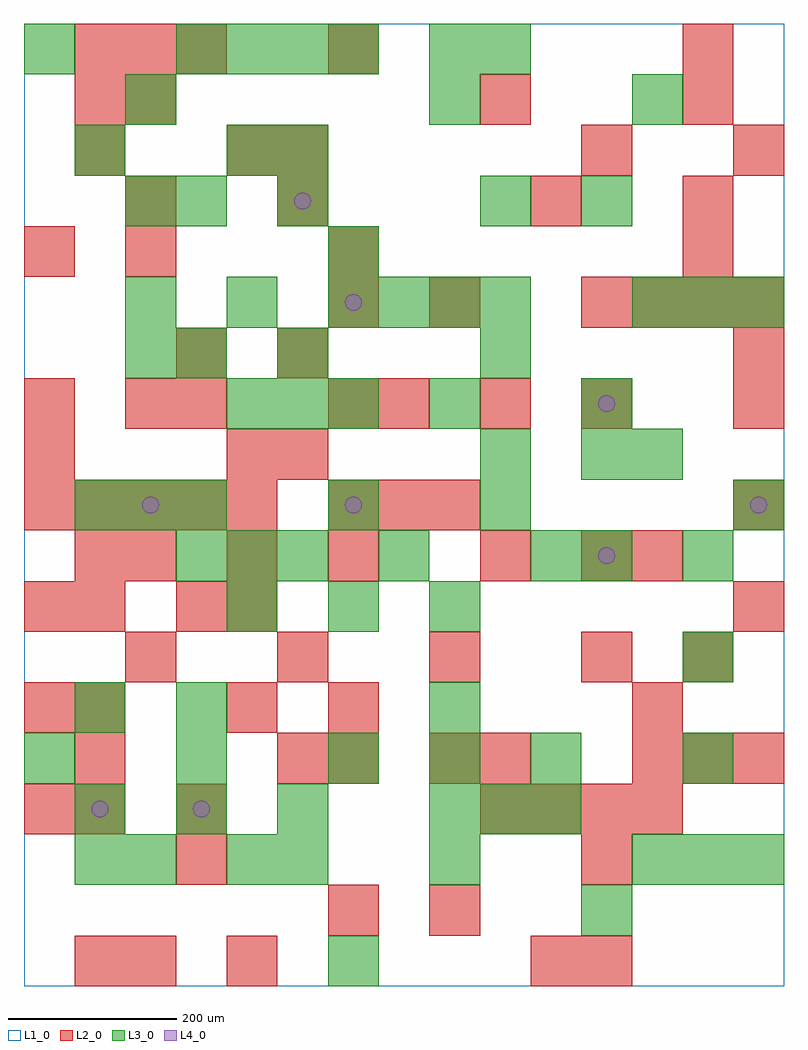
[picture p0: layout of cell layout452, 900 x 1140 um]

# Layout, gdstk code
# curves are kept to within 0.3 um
import gdstk
lib = gdstk.Library(unit=1e-6, precision=1e-09)
def R(c, l, rs):  # rectangles x0, y0, x1, y1
    for r in rs: c.add(gdstk.rectangle(r[:2], r[2:], *l))
def A(c, l, x, y, w, h, nx, ny, dx, dy):  # array of equal rectangles
    R(c, l, [(x+i*dx, y+j*dy, x+i*dx+w, y+j*dy+h) for i in range(nx) for j in range(ny)])
def P(c, l, *ps):  # polygons
    for p in ps: c.add(gdstk.Polygon(p, *l))
L1_0 = (1, 0)
L2_0 = (2, 0)
L3_0 = (3, 0)
L4_0 = (4, 0)

layout452 = lib.new_cell('layout452')
R(layout452, L1_0, [(0,0,900,1140)])
A(layout452, L2_0, 0, 180, 60, 60, 1, 3, 0, 120)
A(layout452, L2_0, 60, 180, 60, 60, 1, 3, 0, 60)
A(layout452, L2_0, 180, 180, 60, 60, 1, 3, 0, 240)
A(layout452, L2_0, 540, 180, 60, 60, 4, 1, 60, 0)
A(layout452, L2_0, 720, 240, 60, 60, 3, 1, 60, 0)
A(layout452, L2_0, 120, 360, 60, 60, 4, 1, 180, 0)
A(layout452, L2_0, 840, 420, 60, 60, 1, 3, 0, 120)
A(layout452, L2_0, 120, 480, 60, 60, 3, 1, 120, 0)
A(layout452, L2_0, 0, 540, 60, 60, 5, 1, 60, 0)
A(layout452, L2_0, 360, 540, 60, 60, 3, 1, 60, 0)
A(layout452, L2_0, 420, 660, 60, 60, 3, 1, 120, 0)
A(layout452, L2_0, 660, 780, 60, 60, 4, 1, 60, 0)
A(layout452, L2_0, 60, 1080, 60, 60, 3, 1, 60, 0)
R(layout452, L2_0, [(60,0,120,60), (120,0,180,60), (240,0,300,60), (600,0,660,60), (660,0,720,60), (360,60,420,120), (480,60,540,120), (180,120,240,180), (660,120,720,180), (300,240,360,300), (360,240,420,300), (480,240,540,300), (540,240,600,300), (240,300,300,360), (360,300,420,360), (720,300,780,360), (780,360,840,420), (60,420,120,480), (240,420,300,480), (60,480,120,540), (540,480,600,540), (660,480,720,540), (720,480,780,540), (0,600,60,660), (240,600,300,660), (300,600,360,660), (0,660,60,720), (120,660,180,720), (360,660,420,720), (180,720,240,780), (300,720,360,780), (840,720,900,780), (360,780,420,840), (480,780,540,840), (0,840,60,900), (120,840,180,900), (360,840,420,900), (780,840,840,900), (120,900,180,960), (300,900,360,960), (600,900,660,960), (780,900,840,960), (60,960,120,1020), (240,960,300,1020), (300,960,360,1020), (660,960,720,1020), (840,960,900,1020), (60,1020,120,1080), (120,1020,180,1080), (540,1020,600,1080), (780,1020,840,1080), (360,1080,420,1140), (780,1080,840,1140)])
A(layout452, L3_0, 720, 120, 60, 60, 3, 2, 60, 660)
A(layout452, L3_0, 60, 180, 60, 60, 3, 1, 120, 0)
A(layout452, L3_0, 480, 180, 60, 60, 3, 1, 60, 0)
A(layout452, L3_0, 0, 240, 60, 60, 3, 1, 180, 0)
A(layout452, L3_0, 780, 240, 60, 60, 1, 3, 0, 120)
A(layout452, L3_0, 480, 300, 60, 60, 1, 3, 0, 360)
A(layout452, L3_0, 240, 420, 60, 60, 3, 1, 120, 0)
A(layout452, L3_0, 180, 480, 60, 60, 3, 1, 60, 0)
A(layout452, L3_0, 60, 540, 60, 60, 3, 1, 60, 0)
A(layout452, L3_0, 240, 660, 60, 60, 3, 1, 60, 0)
A(layout452, L3_0, 540, 720, 60, 60, 1, 3, 0, 180)
A(layout452, L3_0, 120, 780, 60, 60, 3, 1, 120, 0)
A(layout452, L3_0, 420, 780, 60, 60, 3, 1, 60, 0)
A(layout452, L3_0, 180, 1080, 60, 60, 4, 1, 60, 0)
R(layout452, L3_0, [(360,0,420,60), (660,60,720,120), (60,120,120,180), (120,120,180,180), (240,120,300,180), (300,120,360,180), (480,120,540,180), (480,240,540,300), (600,240,660,300), (60,300,120,360), (180,300,240,360), (420,480,480,540), (600,480,660,540), (660,480,720,540), (360,540,420,600), (540,540,600,600), (840,540,900,600), (540,600,600,660), (660,600,720,660), (720,600,780,660), (660,660,720,720), (120,720,180,780), (180,720,240,780), (300,720,360,780), (360,840,420,900), (120,900,180,960), (180,900,240,960), (300,900,360,960), (660,900,720,960), (60,960,120,1020), (240,960,300,1020), (300,960,360,1020), (120,1020,180,1080), (720,1020,780,1080), (0,1080,60,1140), (480,1080,540,1140)])
P(layout452, L4_0, [(100,210),(99.239,213.827),(97.071,217.071),(93.827,219.239),(90,220),(86.173,219.239),(82.929,217.071),(80.761,213.827),(80,210),(80.761,206.173),(82.929,202.929),(86.173,200.761),(90,200),(93.827,200.761),(97.071,202.929),(99.239,206.173)],
  [(160,570),(159.239,573.827),(157.071,577.071),(153.827,579.239),(150,580),(146.173,579.239),(142.929,577.071),(140.761,573.827),(140,570),(140.761,566.173),(142.929,562.929),(146.173,560.761),(150,560),(153.827,560.761),(157.071,562.929),(159.239,566.173)],
  [(220,210),(219.239,213.827),(217.071,217.071),(213.827,219.239),(210,220),(206.173,219.239),(202.929,217.071),(200.761,213.827),(200,210),(200.761,206.173),(202.929,202.929),(206.173,200.761),(210,200),(213.827,200.761),(217.071,202.929),(219.239,206.173)],
  [(340,930),(339.239,933.827),(337.071,937.071),(333.827,939.239),(330,940),(326.173,939.239),(322.929,937.071),(320.761,933.827),(320,930),(320.761,926.173),(322.929,922.929),(326.173,920.761),(330,920),(333.827,920.761),(337.071,922.929),(339.239,926.173)],
  [(400,570),(399.239,573.827),(397.071,577.071),(393.827,579.239),(390,580),(386.173,579.239),(382.929,577.071),(380.761,573.827),(380,570),(380.761,566.173),(382.929,562.929),(386.173,560.761),(390,560),(393.827,560.761),(397.071,562.929),(399.239,566.173)],
  [(400,810),(399.239,813.827),(397.071,817.071),(393.827,819.239),(390,820),(386.173,819.239),(382.929,817.071),(380.761,813.827),(380,810),(380.761,806.173),(382.929,802.929),(386.173,800.761),(390,800),(393.827,800.761),(397.071,802.929),(399.239,806.173)],
  [(700,510),(699.239,513.827),(697.071,517.071),(693.827,519.239),(690,520),(686.173,519.239),(682.929,517.071),(680.761,513.827),(680,510),(680.761,506.173),(682.929,502.929),(686.173,500.761),(690,500),(693.827,500.761),(697.071,502.929),(699.239,506.173)],
  [(700,690),(699.239,693.827),(697.071,697.071),(693.827,699.239),(690,700),(686.173,699.239),(682.929,697.071),(680.761,693.827),(680,690),(680.761,686.173),(682.929,682.929),(686.173,680.761),(690,680),(693.827,680.761),(697.071,682.929),(699.239,686.173)],
  [(880,570),(879.239,573.827),(877.071,577.071),(873.827,579.239),(870,580),(866.173,579.239),(862.929,577.071),(860.761,573.827),(860,570),(860.761,566.173),(862.929,562.929),(866.173,560.761),(870,560),(873.827,560.761),(877.071,562.929),(879.239,566.173)])

lib.write_gds('layout452.gds')
